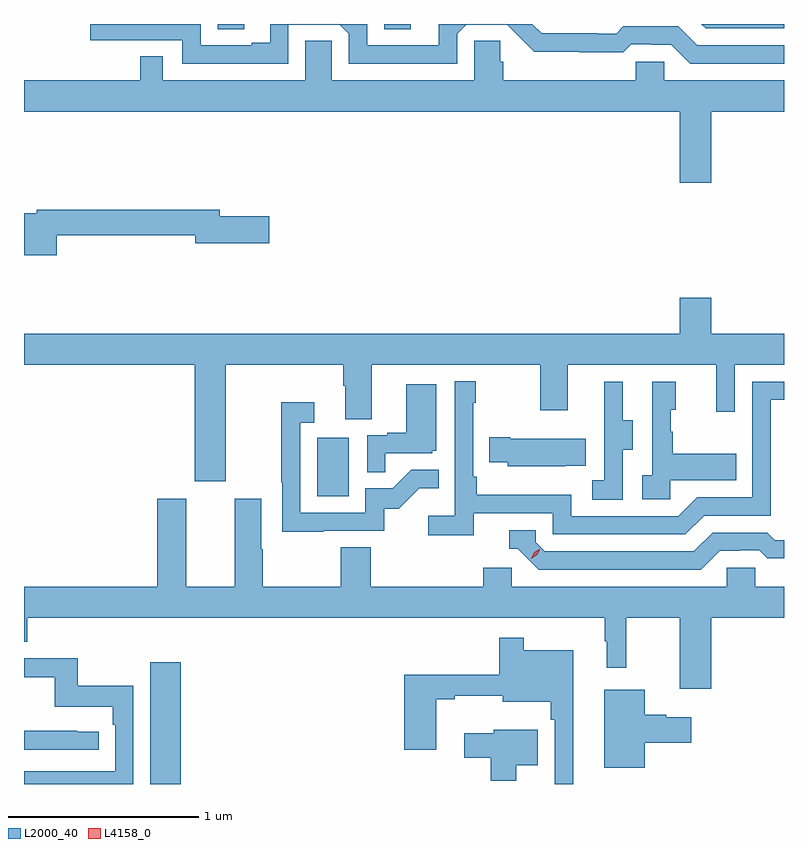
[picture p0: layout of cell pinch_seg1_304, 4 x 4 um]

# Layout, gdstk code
import gdstk
lib = gdstk.Library(unit=1e-6, precision=1e-09)
def R(c, l, rs):  # rectangles x0, y0, x1, y1
    for r in rs: c.add(gdstk.rectangle(r[:2], r[2:], *l))
def P(c, l, *ps):  # polygons
    for p in ps: c.add(gdstk.Polygon(p, *l))
L2000_40 = (2000, 40)
L4158_0 = (4158, 0)

pinch_seg1_304 = lib.new_cell('pinch_seg1_304')
R(pinch_seg1_304, L2000_40, [(941.441,558.849,941.602,559.489), (942.32,560.364,942.484,560.671), (941.795,562.822,941.935,562.849), (942.671,562.822,942.811,562.849)])
P(pinch_seg1_304, L2000_40, [(942.168,562.845),(942.438,562.845),(942.486,562.797),(942.486,562.641),(943.056,562.641),(943.056,562.797),(943.104,562.845),(943.32,562.845),(943.462,562.703),(943.698,562.703),(943.698,562.701),(943.931,562.701),(943.973,562.743),(944.076,562.743),(944.076,562.74),(944.183,562.74),(944.282,562.641),(944.776,562.641),(944.776,562.737),(944.319,562.737),(944.22,562.836),(943.931,562.836),(943.892,562.797),(943.793,562.797),(943.793,562.8),(943.5,562.8),(943.451,562.849),(942.961,562.849),(942.959,562.847),(942.959,562.737),(942.582,562.737),(942.582,562.849),(942.071,562.849),(942.071,562.75),(941.975,562.75),(941.975,562.737),(941.706,562.737),(941.706,562.849),(941.124,562.849),(941.124,562.764),(941.61,562.764),(941.61,562.641),(942.168,562.641)],
  [(944.776,562.849),(944.341,562.849),(944.363,562.827),(944.776,562.827)],
  [(944.392,562.388),(944.776,562.388),(944.776,562.552),(944.145,562.552),(944.145,562.65),(943.995,562.65),(943.995,562.552),(943.298,562.552),(943.298,562.65),(943.283,562.65),(943.283,562.76),(943.146,562.76),(943.146,562.552),(942.396,562.552),(942.396,562.76),(942.257,562.76),(942.257,562.552),(941.505,562.552),(941.505,562.679),(941.389,562.679),(941.389,562.552),(940.776,562.552),(940.776,562.388),(944.228,562.388),(944.228,562.014),(944.392,562.014)],
  [(940.948,561.736),(941.678,561.736),(941.678,561.694),(942.067,561.694),(942.067,561.836),(941.806,561.836),(941.806,561.872),(940.844,561.872),(940.844,561.853),(940.776,561.853),(940.776,561.632),(940.948,561.632)],
  [(941.839,561.056),(942.455,561.056),(942.455,560.944),(942.467,560.944),(942.467,560.77),(942.607,560.77),(942.607,561.056),(943.492,561.056),(943.492,560.817),(943.639,560.817),(943.639,561.056),(944.42,561.056),(944.42,560.808),(944.517,560.808),(944.517,561.056),(944.776,561.056),(944.776,561.22),(944.392,561.22),(944.392,561.409),(944.228,561.409),(944.228,561.22),(940.776,561.22),(940.776,561.056),(941.675,561.056),(941.675,560.442),(941.839,560.442)],
  [(943.142,560.274),(943.56,560.274),(943.56,560.163),(944.257,560.163),(944.356,560.262),(944.706,560.262),(944.706,560.871),(944.776,560.871),(944.776,560.967),(944.61,560.967),(944.61,560.358),(944.319,560.358),(944.22,560.259),(943.656,560.259),(943.656,560.371),(943.16,560.371),(943.16,560.467),(943.14,560.467),(943.14,560.855),(943.153,560.855),(943.153,560.968),(943.044,560.968),(943.044,560.26),(942.903,560.26),(942.903,560.158),(943.142,560.158)],
  [(943.926,560.608),(943.981,560.608),(943.981,560.763),(943.927,560.763),(943.927,560.965),(943.829,560.965),(943.829,560.751),(943.83,560.751),(943.83,560.447),(943.767,560.447),(943.767,560.344),(943.926,560.344)],
  [(944.178,560.447),(944.525,560.447),(944.525,560.587),(944.191,560.587),(944.191,560.702),(944.181,560.702),(944.181,560.82),(944.206,560.82),(944.206,560.965),(944.082,560.965),(944.082,560.474),(944.031,560.474),(944.031,560.349),(944.178,560.349)],
  [(942.677,560.589),(942.924,560.589),(942.924,560.604),(942.946,560.604),(942.946,560.953),(942.788,560.953),(942.788,560.698),(942.689,560.698),(942.689,560.685),(942.582,560.685),(942.582,560.491),(942.677,560.491)],
  [(942.353,560.181),(942.672,560.181),(942.672,560.298),(942.748,560.298),(942.855,560.405),(942.959,560.405),(942.959,560.504),(942.815,560.504),(942.717,560.406),(942.573,560.406),(942.573,560.277),(942.231,560.277),(942.231,560.751),(942.304,560.751),(942.304,560.857),(942.13,560.857),(942.13,560.437),(942.135,560.437),(942.135,560.176),(942.353,560.176)],
  [(943.625,560.525),(943.733,560.525),(943.733,560.665),(943.336,560.665),(943.336,560.673),(943.225,560.673),(943.225,560.543),(943.323,560.543),(943.323,560.522),(943.625,560.522)],
  [(944.392,559.724),(944.776,559.724),(944.776,559.888),(944.625,559.888),(944.625,559.986),(944.475,559.986),(944.475,559.888),(943.344,559.888),(943.344,559.986),(943.193,559.986),(943.193,559.888),(942.602,559.888),(942.602,560.096),(942.442,560.096),(942.442,559.888),(942.033,559.888),(942.033,560.084),(942.025,560.084),(942.025,560.35),(941.885,560.35),(941.885,559.888),(941.629,559.888),(941.629,560.35),(941.477,560.35),(941.477,559.888),(940.776,559.888),(940.776,559.597),(940.793,559.597),(940.793,559.724),(943.833,559.724),(943.833,559.601),(943.844,559.601),(943.844,559.461),(943.946,559.461),(943.946,559.724),(944.228,559.724),(944.228,559.35),(944.392,559.35)],
  [(944.437,560.076),(944.544,560.076),(944.544,560.079),(944.647,560.079),(944.689,560.037),(944.776,560.037),(944.776,560.133),(944.728,560.133),(944.689,560.172),(944.4,560.172),(944.301,560.073),(943.518,560.073),(943.47,560.121),(943.47,560.184),(943.331,560.184),(943.331,560.088),(943.374,560.088),(943.485,559.977),(944.338,559.977)],
  [(943.666,559.552),(943.405,559.552),(943.405,559.618),(943.276,559.618),(943.276,559.423),(942.776,559.423),(942.776,559.029),(942.946,559.029),(942.946,559.294),(943.042,559.294),(943.042,559.313),(943.295,559.313),(943.295,559.283),(943.549,559.283),(943.549,559.187),(943.569,559.187),(943.569,558.849),(943.666,558.849)],
  [(941.352,559.366),(941.059,559.366),(941.059,559.512),(940.776,559.512),(940.776,559.411),(940.938,559.411),(940.938,559.256),(941.243,559.256),(941.243,559.16),(941.256,559.16),(941.256,558.915),(940.943,558.915),(940.943,558.916),(940.776,558.916),(940.776,558.849),(941.352,558.849)],
  [(944.044,559.067),(944.287,559.067),(944.287,559.201),(944.157,559.201),(944.157,559.214),(944.044,559.214),(944.044,559.345),(943.829,559.345),(943.829,558.935),(944.044,558.935)],
  [(943.366,558.947),(943.48,558.947),(943.48,559.135),(943.248,559.135),(943.248,559.117),(943.092,559.117),(943.092,558.988),(943.232,558.988),(943.232,558.866),(943.366,558.866)],
  [(941.17,559.125),(941.057,559.125),(941.057,559.13),(940.776,559.13),(940.776,559.029),(941.17,559.029)])
P(pinch_seg1_304, L4158_0, [(943.446,560.035),(943.446,560.036),(943.462,560.068),(943.493,560.088),(943.493,560.088),(943.493,560.088),(943.477,560.055),(943.446,560.035)])

lib.write_gds('pinch_seg1_304.gds')
